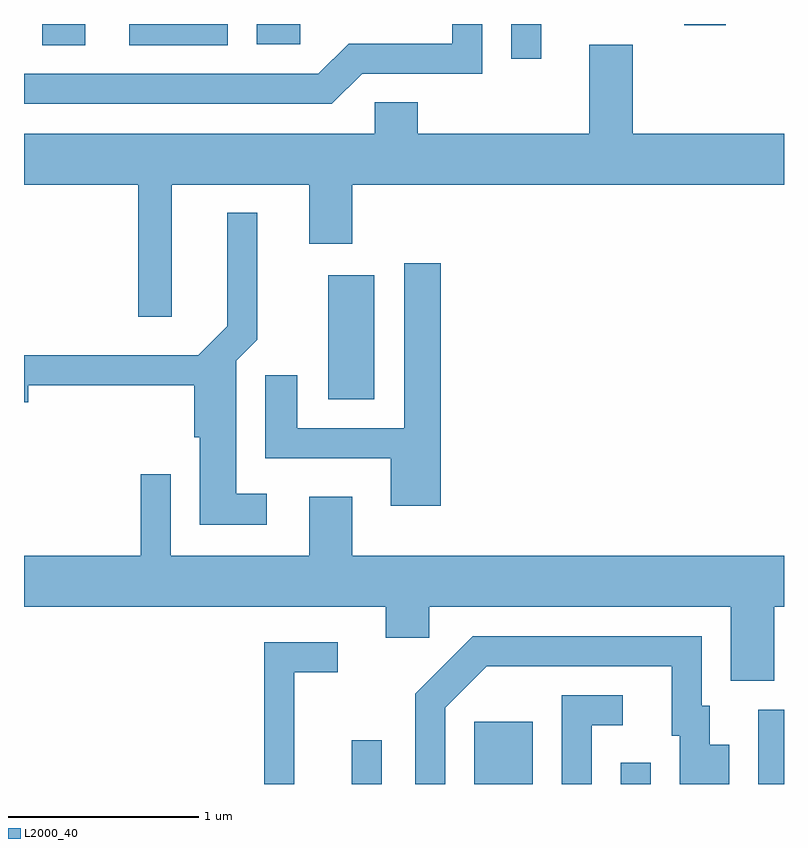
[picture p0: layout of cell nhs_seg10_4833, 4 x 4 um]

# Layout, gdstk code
import gdstk
lib = gdstk.Library(unit=1e-6, precision=1e-09)
def R(c, l, rs):  # rectangles x0, y0, x1, y1
    for r in rs: c.add(gdstk.rectangle(r[:2], r[2:], *l))
def P(c, l, *ps):  # polygons
    for p in ps: c.add(gdstk.Polygon(p, *l))
L2000_40 = (2000, 40)

nhs_seg10_4833 = lib.new_cell('nhs_seg10_4833')
R(nhs_seg10_4833, L2000_40, [(329.336,2128.522,329.494,2128.753), (329.981,2128.522,330.289,2128.849), (330.751,2128.522,330.909,2128.633), (331.476,2128.522,331.611,2128.914), (329.211,2130.546,329.454,2131.199), (330.176,2132.338,330.334,2132.522), (327.706,2132.411,327.934,2132.522), (328.166,2132.411,328.684,2132.522), (328.836,2132.416,329.064,2132.522), (331.086,2132.516,331.304,2132.522)])
P(nhs_seg10_4833, L2000_40, [(329.392,2132.261),(330.024,2132.261),(330.024,2132.522),(329.866,2132.522),(329.866,2132.419),(329.319,2132.419),(329.159,2132.259),(327.611,2132.259),(327.611,2132.101),(329.232,2132.101)],
  [(328.389,2131.676),(329.111,2131.676),(329.111,2131.366),(329.339,2131.366),(329.339,2131.676),(331.611,2131.676),(331.611,2131.944),(330.814,2131.944),(330.814,2132.414),(330.586,2132.414),(330.586,2131.944),(329.684,2131.944),(329.684,2132.109),(329.456,2132.109),(329.456,2131.944),(327.611,2131.944),(327.611,2131.676),(328.211,2131.676),(328.211,2130.981),(328.389,2130.981)],
  [(328.888,2130.049),(328.729,2130.049),(328.729,2130.749),(328.839,2130.859),(328.839,2131.528),(328.681,2131.528),(328.681,2130.932),(328.529,2130.779),(327.611,2130.779),(327.611,2130.531),(327.634,2130.531),(327.634,2130.621),(328.506,2130.621),(328.506,2130.346),(328.536,2130.346),(328.536,2129.886),(328.888,2129.886)],
  [(329.804,2131.264),(329.611,2131.264),(329.611,2130.394),(329.049,2130.394),(329.049,2130.673),(328.881,2130.673),(328.881,2130.236),(329.541,2130.236),(329.541,2129.986),(329.804,2129.986)],
  [(329.111,2130.034),(329.111,2129.724),(328.384,2129.724),(328.384,2130.153),(328.226,2130.153),(328.226,2129.724),(327.611,2129.724),(327.611,2129.456),(329.516,2129.456),(329.516,2129.291),(329.744,2129.291),(329.744,2129.456),(331.331,2129.456),(331.331,2129.066),(331.559,2129.066),(331.559,2129.456),(331.611,2129.456),(331.611,2129.724),(329.339,2129.724),(329.339,2130.034)],
  [(329.829,2128.924),(330.047,2129.141),(331.021,2129.141),(331.021,2128.776),(331.061,2128.776),(331.061,2128.522),(331.324,2128.522),(331.324,2128.729),(331.219,2128.729),(331.219,2128.934),(331.179,2128.934),(331.179,2129.299),(329.974,2129.299),(329.671,2128.997),(329.671,2128.522),(329.829,2128.522)],
  [(329.034,2129.111),(329.263,2129.111),(329.263,2129.269),(328.876,2129.269),(328.876,2128.522),(329.034,2128.522)],
  [(330.599,2128.831),(330.763,2128.831),(330.763,2128.989),(330.441,2128.989),(330.441,2128.522),(330.599,2128.522)])

lib.write_gds('nhs_seg10_4833.gds')
